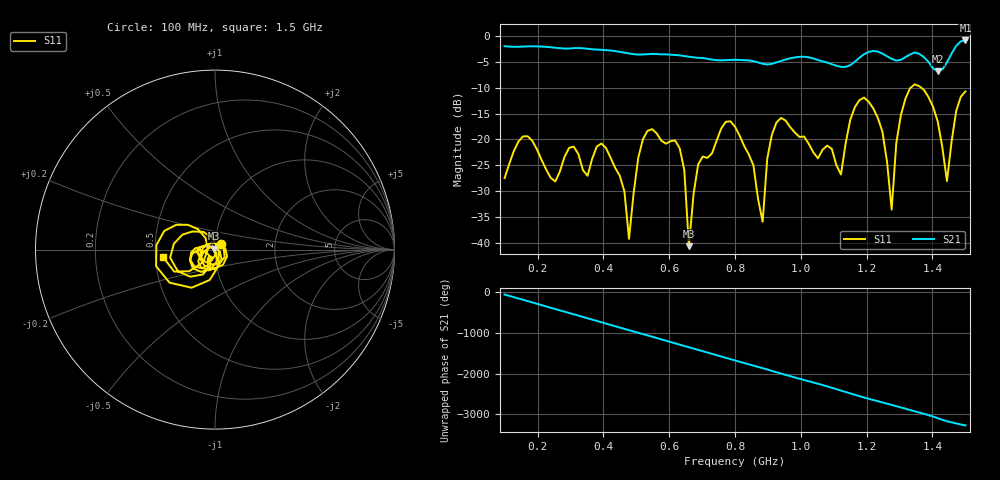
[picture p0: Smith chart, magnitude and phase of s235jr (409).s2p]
! NanoVNA-App
! Date: 2025-09-25 15:07:21
! Start: 100MHz Stop: 1,5GHz Points: 101
! S-Parameter data: F S11 S21 S12 S22
# Hz S RI R 50
!  Frequency  S11_Real  S11_Imag  S21_Real  S21_Imag  S12_Real  S12_Imag  S22_Real  S22_Imag
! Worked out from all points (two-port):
!   101 points, 100 MHz to 1.5 GHz, reference 50 ohm
!   highest |S21| = -0.85 dB at 1.5 GHz (marker M1); lowest = -6.9 dB at 1.416 GHz (marker M2)
!   |S21| within 3 dB of the highest: start of sweep to 644.4 MHz; 1.185 GHz to 1.26 GHz (75.01 MHz wide, 6.14 % of centre) (the widest 2 of 4)
!   lowest |S11| = -40.6 dB at 660 MHz (marker M3), VSWR 1.02, Z = 49.3 + j0.58 ohm
!   |S11| at or under -10 dB: start of sweep to 1.334 GHz; 1.366 GHz to end of sweep
!   S12 and S22 are empty: the file has one direction only
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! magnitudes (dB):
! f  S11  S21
! 100 MHz  -27.5  -2.0
! 156 MHz  -19.4  -2.0
! 338 MHz  -25.9  -2.4
! 408 MHz  -21.6  -2.7
! 478 MHz  -39.2  -3.4
! 520 MHz  -20.0  -3.6
! 576 MHz  -20.2  -3.5
! 632 MHz  -21.7  -3.7
! 660 MHz  -40.6  -4.0
! 688 MHz  -24.8  -4.2
! 800 MHz  -17.5  -4.6
! 884 MHz  -35.9  -5.4
! 926 MHz  -16.7  -5.1
! 1.038 GHz  -22.5  -4.4
! 1.122 GHz  -26.8  -6.0
! 1.192 GHz  -11.9  -3.5
! 1.248 GHz  -18.5  -3.4
! 1.276 GHz  -33.6  -4.4
! 1.332 GHz  -10.1  -3.6
! 1.416 GHz  -16.5  -6.9
! 1.444 GHz  -28.1  -5.1
! 1.5 GHz  -10.7  -0.9
